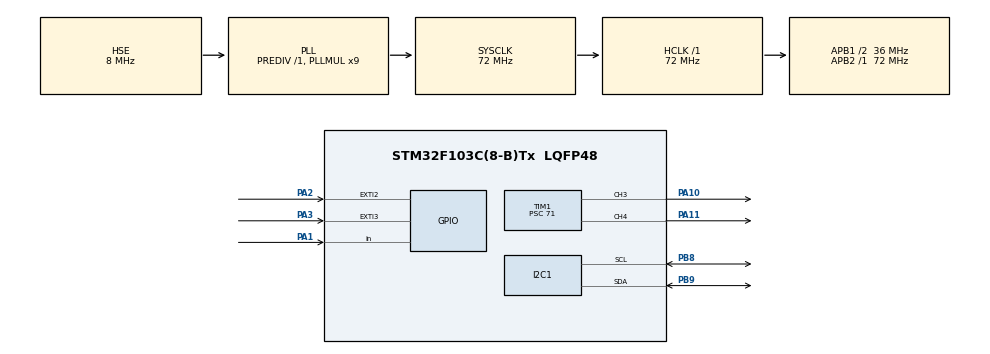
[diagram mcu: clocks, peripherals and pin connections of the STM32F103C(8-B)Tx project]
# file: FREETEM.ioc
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FREERTOS.Tasks01=defaultTask,24,128,StartDefaultTask,Default,NULL,Dynamic,NULL,NULL
I2C1.I2C_Mode=I2C_Fast
Mcu.Family=STM32F1
Mcu.Name=STM32F103C(8-B)Tx
Mcu.Package=LQFP48
NVIC.EXTI2_IRQn=true\:5\:0\:false\:false\:true\:true\:true\:true\:true
NVIC.EXTI3_IRQn=true\:5\:0\:false\:false\:true\:true\:true\:true\:true
NVIC.PriorityGroup=NVIC_PRIORITYGROUP_4
NVIC.TIM4_IRQn=true\:15\:0\:false\:false\:true\:false\:false\:true\:true
NVIC.TimeBase=TIM4_IRQn
NVIC.TimeBaseIP=TIM4
PA1.Signal=GPIO_Input
PA10.Signal=S_TIM1_CH3
PA11.Signal=S_TIM1_CH4
PA13.Mode=Serial_Wire
PA13.Signal=SYS_JTMS-SWDIO
PA14.Mode=Serial_Wire
PA14.Signal=SYS_JTCK-SWCLK
PA2.GPIO_ModeDefaultEXTI=GPIO_MODE_IT_FALLING
PA2.Signal=GPXTI2
PA3.GPIO_ModeDefaultEXTI=GPIO_MODE_IT_FALLING
PA3.Signal=GPXTI3
PB8.Mode=I2C
PB8.Signal=I2C1_SCL
PB9.Mode=I2C
PB9.Signal=I2C1_SDA
PD0-OSC_IN.Mode=HSE-External-Oscillator
PD0-OSC_IN.Signal=RCC_OSC_IN
PD1-OSC_OUT.Mode=HSE-External-Oscillator
PD1-OSC_OUT.Signal=RCC_OSC_OUT
ProjectManager.HeapSize=0x200
ProjectManager.StackSize=0x400
ProjectManager.TargetToolchain=MDK-ARM V5.32
RCC.AHBFreq_Value=72000000
RCC.APB1CLKDivider=RCC_HCLK_DIV2
RCC.APB1Freq_Value=36000000
RCC.APB1TimFreq_Value=72000000
RCC.APB2Freq_Value=72000000
RCC.APB2TimFreq_Value=72000000
RCC.HCLKFreq_Value=72000000
RCC.PLLMUL=RCC_PLL_MUL9
RCC.PLLSourceVirtual=RCC_PLLSOURCE_HSE
RCC.SYSCLKFreq_VALUE=72000000
RCC.SYSCLKSource=RCC_SYSCLKSOURCE_PLLCLK
RCC.USBFreq_Value=72000000
SH.S_TIM1_CH3.0=TIM1_CH3,PWM Generation3 CH3
SH.S_TIM1_CH4.0=TIM1_CH4,PWM Generation4 CH4
TIM1.Channel-PWM\ Generation3\ CH3=TIM_CHANNEL_3
TIM1.Channel-PWM\ Generation4\ CH4=TIM_CHANNEL_4
TIM1.Period=100
TIM1.Prescaler=71
TIM1.Pulse-PWM\ Generation4\ CH4=40
VP_FREERTOS_VS_CMSIS_V2.Mode=CMSIS_V2
VP_SYS_VS_tim4.Mode=TIM4
board=custom

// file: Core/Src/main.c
/* USER CODE BEGIN Header */
/**
  ******************************************************************************
  * @file           : main.c
  * @brief          : Main program body
  ******************************************************************************
  * @attention
  *
  * Copyright (c) 2026 STMicroelectronics.
  * All rights reserved.
  *
  * This software is licensed under terms that can be found in the LICENSE file
  * in the root directory of this software component.
  * If no LICENSE file comes with this software, it is provided AS-IS.
  *
  ******************************************************************************
  */
/* USER CODE END Header */
#include "main.h"
#include "cmsis_os.h"
#include "i2c.h"
#include "tim.h"
#include "gpio.h"

/* USER CODE BEGIN Includes */
#include "ds18b20.h"
#include "ssd1306.h"
/* USER CODE END Includes */

void SystemClock_Config(void);
void MX_FREERTOS_Init(void);

int main(void)
{

  /* MCU Configuration--------------------------------------------------------*/

  /* Reset of all peripherals, Initializes the Flash interface and the Systick. */
  HAL_Init();

  /* Configure the system clock */
  SystemClock_Config();

  /* Initialize all configured peripherals */
  MX_GPIO_Init();
  MX_I2C1_Init();
  MX_TIM1_Init();
  /* USER CODE BEGIN 2 */
	DS18B20_DWT_Init();
	HAL_TIM_PWM_Start(&htim1, TIM_CHANNEL_3);
  HAL_TIM_PWM_Start(&htim1, TIM_CHANNEL_4);
  /* USER CODE END 2 */

  /* Init scheduler */
  osKernelInitialize();  /* Call init function for freertos objects (in cmsis_os2.c) */
  MX_FREERTOS_Init();

  /* Start scheduler */
  osKernelStart();

  /* We should never get here as control is now taken by the scheduler */

  /* Infinite loop */
  while (1)
  {

  }
}

void SystemClock_Config(void)
{
  RCC_OscInitTypeDef RCC_OscInitStruct = {0};
  RCC_ClkInitTypeDef RCC_ClkInitStruct = {0};

  /** Initializes the RCC Oscillators according to the specified parameters
  * in the RCC_OscInitTypeDef structure.
  */
  RCC_OscInitStruct.OscillatorType = RCC_OSCILLATORTYPE_HSE;
  RCC_OscInitStruct.HSEState = RCC_HSE_ON;
  RCC_OscInitStruct.HSEPredivValue = RCC_HSE_PREDIV_DIV1;
  RCC_OscInitStruct.HSIState = RCC_HSI_ON;
  RCC_OscInitStruct.PLL.PLLState = RCC_PLL_ON;
  RCC_OscInitStruct.PLL.PLLSource = RCC_PLLSOURCE_HSE;
  RCC_OscInitStruct.PLL.PLLMUL = RCC_PLL_MUL9;
  if (HAL_RCC_OscConfig(&RCC_OscInitStruct) != HAL_OK)
  {
    Error_Handler();
  }

  /** Initializes the CPU, AHB and APB buses clocks
  */
  RCC_ClkInitStruct.ClockType = RCC_CLOCKTYPE_HCLK|RCC_CLOCKTYPE_SYSCLK
                              |RCC_CLOCKTYPE_PCLK1|RCC_CLOCKTYPE_PCLK2;
  RCC_ClkInitStruct.SYSCLKSource = RCC_SYSCLKSOURCE_PLLCLK;
  RCC_ClkInitStruct.AHBCLKDivider = RCC_SYSCLK_DIV1;
  RCC_ClkInitStruct.APB1CLKDivider = RCC_HCLK_DIV2;
  RCC_ClkInitStruct.APB2CLKDivider = RCC_HCLK_DIV1;

  if (HAL_RCC_ClockConfig(&RCC_ClkInitStruct, FLASH_LATENCY_2) != HAL_OK)
  {
    Error_Handler();
  }
}

void HAL_TIM_PeriodElapsedCallback(TIM_HandleTypeDef *htim)
{
  if (htim->Instance == TIM4)
  {
    HAL_IncTick();
  }
}

void Error_Handler(void)
{
  __disable_irq();
  while (1)
  {
  }
}

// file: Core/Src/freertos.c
/* USER CODE BEGIN Header */
/**
  ******************************************************************************
  * File Name          : freertos.c
  * Description        : Code for freertos applications
  ******************************************************************************
  * @attention
  *
  * Copyright (c) 2026 STMicroelectronics.
  * All rights reserved.
  *
  * This software is licensed under terms that can be found in the LICENSE file
  * in the root directory of this software component.
  * If no LICENSE file comes with this software, it is provided AS-IS.
  *
  ******************************************************************************
  */
/* USER CODE END Header */

#include "FreeRTOS.h"
#include "task.h"
#include "main.h"
#include "cmsis_os.h"

/* USER CODE BEGIN Includes */
#include "ds18b20.h"
#include "ssd1306.h"
#include "tim.h"
#include <stdio.h>
#include <math.h>  // 在文件顶部添加
/* USER CODE END Includes */

/* USER CODE BEGIN Variables */
/* ---- 放在 freertos.c 里, TempDisplayTask 函数外面的全局区域 ---- */
static TaskHandle_t s_tempTaskHandle = NULL;
volatile float g_setTemp  = 25.0f;   /* 设定温度, 初始25.0C */
volatile float g_lastTemp = 25.0f; /* 缓存上一次读到的真实温度 */

#define PWM_PULSE_MAX   999    /* 对应tim.c里 htim1.Init.Period = 999 */
#define SET_TEMP_STEP   0.5f
#define SET_TEMP_MIN    0.0f
#define SET_TEMP_MAX    80.0f

/* USER CODE END Variables */
/* Definitions for defaultTask */
osThreadId_t defaultTaskHandle;
const osThreadAttr_t defaultTask_attributes = {
  .name = "defaultTask",
  .stack_size = 128 * 4,
  .priority = (osPriority_t) osPriorityNormal,
};

/* USER CODE BEGIN FunctionPrototypes */
static void TempDisplay_Refresh(void)
{
    OLED_Clear();

    char buf[16];
    OLED_ShowString8x16(0, 2, "SET:");
    snprintf(buf, sizeof(buf), "%.1f", g_setTemp);
    OLED_ShowString8x16(40, 2, buf);

    if (g_lastTemp > -55.0f && g_lastTemp < 125.0f)
    {
        OLED_ShowString8x16(0, 5, "NOW:");
        snprintf(buf, sizeof(buf), "%.1f", g_lastTemp);
        OLED_ShowString8x16(40, 5, buf);
    }
    else
    {
        OLED_ShowString8x16(0, 4, "ERROR");
    }

    OLED_Refresh();
}

void TempDisplayTask(void *argument)
{
    (void)argument;
    OLED_Init();
    OLED_Clear();

    TickType_t lastCtrlTick = xTaskGetTickCount();

    for (;;)
    {
        //按键通知仅刷新屏幕
        if(ulTaskNotifyTake(pdTRUE, pdMS_TO_TICKS(50)) > 0)
        {
            TempDisplay_Refresh();
        }

        TickType_t nowTick = xTaskGetTickCount();
        if((nowTick - lastCtrlTick) >= pdMS_TO_TICKS(250))
        {
            lastCtrlTick = nowTick;

            g_lastTemp = DS18B20_Get_Temp();

            if (g_lastTemp > -55.0f && g_lastTemp < 125.0f)
            {
                if(g_lastTemp > g_setTemp)
                {
                    //温度高于设定：开风扇，关闭加热
                    __HAL_TIM_SET_COMPARE(&htim1, TIM_CHANNEL_3, 0);
                    __HAL_TIM_SET_COMPARE(&htim1, TIM_CHANNEL_4, PWM_PULSE_MAX);

                }
                else if(g_lastTemp < g_setTemp)
                {
                    //温度低于设定：关闭风扇，开加热
                    __HAL_TIM_SET_COMPARE(&htim1, TIM_CHANNEL_3, PWM_PULSE_MAX);
                    __HAL_TIM_SET_COMPARE(&htim1, TIM_CHANNEL_4, 0);
                }
                else
                {
                    //温度相等，全部关闭
                    __HAL_TIM_SET_COMPARE(&htim1, TIM_CHANNEL_3, 0);
                    __HAL_TIM_SET_COMPARE(&htim1, TIM_CHANNEL_4, 0);
                }
            }
            else
            {
                //传感器故障，全部关闭
                __HAL_TIM_SET_COMPARE(&htim1, TIM_CHANNEL_3, 0);
                __HAL_TIM_SET_COMPARE(&htim1, TIM_CHANNEL_4, 0);
            }
            TempDisplay_Refresh();
        }
    }
}

void HAL_GPIO_EXTI_Callback(uint16_t GPIO_Pin)
{
    static TickType_t lastTickUp = 0, lastTickDown = 0;
    TickType_t now = xTaskGetTickCountFromISR();
    BaseType_t xHigherPriorityTaskWoken = pdFALSE;

    if (GPIO_Pin == GPIO_PIN_2)
    {
        if ((now - lastTickUp) > pdMS_TO_TICKS(100))
        {
            lastTickUp = now;
            g_setTemp += SET_TEMP_STEP;
            if (g_setTemp > SET_TEMP_MAX) g_setTemp = SET_TEMP_MAX;
            vTaskNotifyGiveFromISR(s_tempTaskHandle, &xHigherPriorityTaskWoken);
        }
    }
    else if (GPIO_Pin == GPIO_PIN_3)
    {
        if ((now - lastTickDown) > pdMS_TO_TICKS(100))
        {
            lastTickDown = now;
            g_setTemp -= SET_TEMP_STEP;
            if (g_setTemp < SET_TEMP_MIN) g_setTemp = SET_TEMP_MIN;
            vTaskNotifyGiveFromISR(s_tempTaskHandle, &xHigherPriorityTaskWoken);
        }
    }

    portYIELD_FROM_ISR(xHigherPriorityTaskWoken);
}
/* USER CODE END FunctionPrototypes */

void StartDefaultTask(void *argument);

void MX_FREERTOS_Init(void); /* (MISRA C 2004 rule 8.1) */

void MX_FREERTOS_Init(void) {

  /* Create the thread(s) */
  /* creation of defaultTask */
  defaultTaskHandle = osThreadNew(StartDefaultTask, NULL, &defaultTask_attributes);

  /* USER CODE BEGIN RTOS_THREADS */
  /* add threads, ... */
	xTaskCreate(TempDisplayTask, "TempDisp", 512, NULL, tskIDLE_PRIORITY + 2, &s_tempTaskHandle);

  /* USER CODE END RTOS_THREADS */

}

void StartDefaultTask(void *argument)
{
  for(;;)
  {
    osDelay(1);
  }
}
